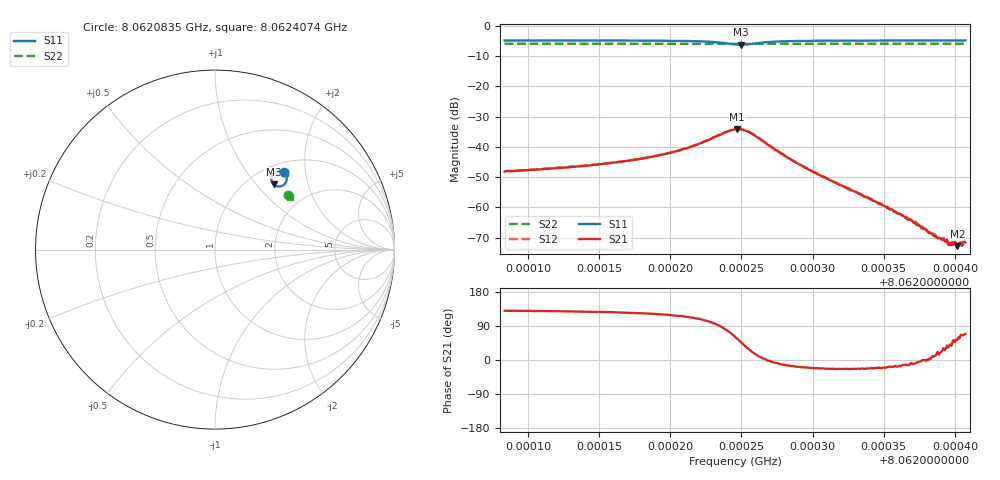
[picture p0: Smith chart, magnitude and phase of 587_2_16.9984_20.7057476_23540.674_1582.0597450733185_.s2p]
#  HZ  S  RI  R  50.00
! Rohde & Schwarz Vector Network Analyzer
! Rohde-Schwarz,ZNB20-2Port,1311601062101988,3.16
! Created: UTC 3/20/2024, 11:18:22 PM
! freq[Hz]  re:S11  im:S11  re:S21  im:S21  re:S12  im:S12  re:S22  im:S22
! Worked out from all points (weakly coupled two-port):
!   401 points, 8.0620835 GHz to 8.0624074 GHz, reference 50 ohm
!   highest |S21| = -34.12 dB at 8.0622471 GHz (marker M1); lowest = -72.8 dB at 8.0624017 GHz (marker M2)
!   lowest |S11| = -6.2 dB at 8.0622495 GHz (marker M3), VSWR 2.91, Z = 65.2 + j62.1 ohm
!   |S11| at or under -10 dB: nowhere
!   |S22| runs from -5.9 to -5.9 dB; largest |S21 - S12| = 0.0012
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8.06208352e9  0.3827 0.4304  -0.00253 0.00301  -0.00236 0.00318  0.4057 0.3068
8.06213777e9  0.3883 0.4244  -0.00293 0.00381  -0.00272 0.00399  0.4077 0.3038
8.06216691e9  0.392 0.4192  -0.00332 0.00468  -0.00306 0.00493  0.4089 0.3023
8.06219201e9  0.3962 0.4114  -0.00374 0.00622  -0.00339 0.00651  0.4097 0.3006
8.06221549e9  0.3995 0.3956  -0.00378 0.00953  -0.00321 0.00977  0.4104 0.2988
8.06223331e9  0.3896 0.3672  -0.000669 0.0153  0.000326 0.0154  0.41 0.2969
8.06224545e9  0.3463 0.3528  0.00938 0.017  0.0104 0.0167  0.4086 0.2963
8.06224707e9  0.3383 0.3556  0.011 0.0163  0.012 0.0158  0.4084 0.2963
8.0622495e9  0.3273 0.3629  0.0132 0.0145  0.0141 0.0138  0.4079 0.2967
8.0622576e9  0.3138 0.3994  0.0154 0.00589  0.0158 0.00512  0.4081 0.2982
8.06228108e9  0.3493 0.4368  0.00679 -0.00157  0.00678 -0.00205  0.4109 0.2983
8.0622997e9  0.3643 0.4369  0.0037 -0.00141  0.00363 -0.00165  0.4123 0.2971
8.06235394e9  0.3804 0.4308  0.00089 -0.000295  0.00089 -0.000378  0.4146 0.2939
8.06236933e9  0.3828 0.4293  0.000605 -7.8e-05  0.000609 -0.000148  0.4152 0.2932
8.06237338e9  0.3833 0.4289  0.000509 -5.54e-05  0.000514 -0.000137  0.4154 0.2929
8.06238633e9  0.385 0.4278  0.000326 6.51e-05  0.000345 8.01e-05  0.4159 0.2921
8.06238876e9  0.3853 0.4278  0.000307 7.93e-05  0.000299 0.000111  0.416 0.2921
8.06239686e9  0.3862 0.4271  0.00019 0.000167  0.000236 0.000154  0.4162 0.2919
8.06239928e9  0.3863 0.4269  0.000157 0.000206  0.000174 0.00015  0.4163 0.2916
8.06240171e9  0.3867 0.4266  0.000139 0.000182  0.000162 0.000202  0.4165 0.2914
8.06240333e9  0.3868 0.4264  0.000135 0.000211  0.000162 0.000188  0.4166 0.2912
8.06240738e9  0.3873 0.4261  9.64e-05 0.000246  0.000106 0.000249  0.4166 0.2911
